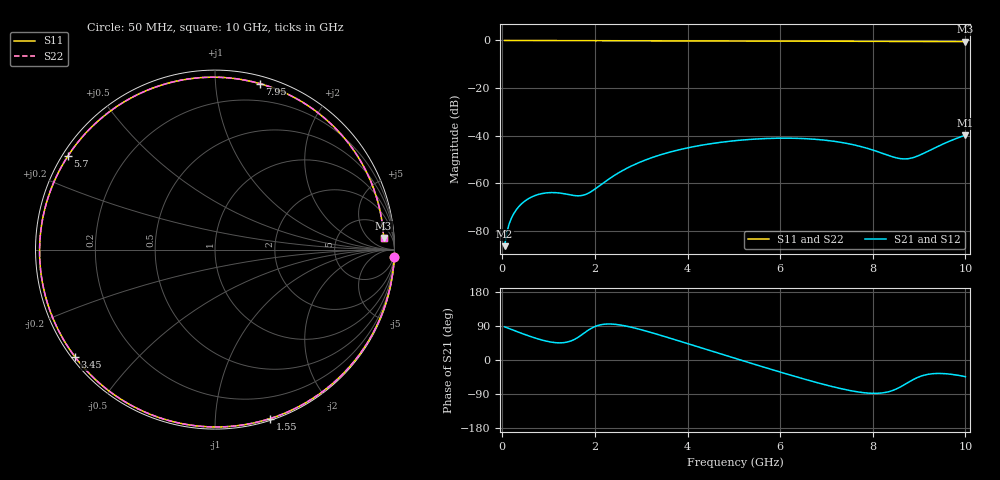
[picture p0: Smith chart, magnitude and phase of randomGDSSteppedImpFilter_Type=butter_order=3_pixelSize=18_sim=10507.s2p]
! freq	dB(S11)	phase(S11)	dB(S12)	phase(S12)
!  dB(S21)	phase(S21)	dB(S22)	phase(S22)
!S-par simulation data
#  GHz  S  DB  R 50
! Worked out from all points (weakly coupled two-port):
!   200 points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, 50 MHz to 10 GHz, reference 50 ohm
!   highest |S21| = -39.84 dB at 10 GHz (marker M1); lowest = -86.6 dB at 50 MHz (marker M2)
!   lowest |S11| = -0.5 dB at 10 GHz (marker M3), VSWR 33.19, Z = 728 + j823 ohm
!   |S11| at or under -10 dB: nowhere
!   |S22| runs from -0.5 to 0.0 dB; largest |S21 - S12| = 0
!   S11 on the Smith chart (normalised r, x): 50 MHz: 0, -47; 1.55 GHz: 0.01, -1.38; 3.45 GHz: 0.01, -0.34; 5.7 GHz: 0.02, +0.29; 7.95 GHz: 0.06, +1.30; 10 GHz: 15, +16
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0.05  -0.00 -2.5  -86.55 87.6  -86.55 87.6  -0.00 -2.5
0.1  -0.01 -4.9  -80.56 85.2  -80.56 85.2  -0.01 -4.9
0.2  -0.01 -9.8  -74.64 80.4  -74.64 80.4  -0.01 -9.8
0.3  -0.02 -14.6  -71.28 75.7  -71.28 75.7  -0.02 -14.6
0.6  -0.04 -29.0  -66.18 62.4  -66.18 62.4  -0.04 -29.0
1  -0.06 -47.6  -64.05 48.5  -64.05 48.5  -0.06 -47.6
1.55  -0.09 -71.9  -65.24 53.8  -65.24 53.8  -0.09 -71.9
1.75  -0.09 -80.3  -65.09 69.6  -65.09 69.6  -0.09 -80.3
2.5  -0.12 -109.6  -55.83 93.2  -55.83 93.2  -0.12 -109.6
3.4  -0.15 -140.9  -48.21 65.8  -48.21 65.8  -0.15 -140.9
3.45  -0.15 -142.6  -47.91 64.0  -47.91 64.0  -0.15 -142.6
4.25  -0.18 -168.0  -44.25 33.8  -44.25 33.8  -0.18 -168.0
5.05  -0.22 167.5  -42.12 3.4  -42.12 3.4  -0.22 167.5
5.7  -0.25 147.7  -41.26 -20.8  -41.26 -20.8  -0.25 147.7
6.7  -0.31 116.4  -41.50 -56.5  -41.50 -56.5  -0.31 116.4
7.35  -0.34 95.2  -43.00 -76.6  -43.00 -76.6  -0.34 95.2
7.95  -0.37 74.9  -45.79 -87.8  -45.79 -87.8  -0.37 74.9
8.35  -0.40 61.1  -48.46 -83.4  -48.46 -83.4  -0.40 61.1
8.65  -0.41 50.7  -49.82 -67.5  -49.82 -67.5  -0.41 50.7
8.85  -0.43 43.7  -49.41 -53.2  -49.41 -53.2  -0.43 43.7
9.45  -0.47 22.8  -44.17 -35.5  -44.17 -35.5  -0.47 22.7
10  -0.52 3.9  -39.84 -43.9  -39.84 -43.9  -0.52 3.9
